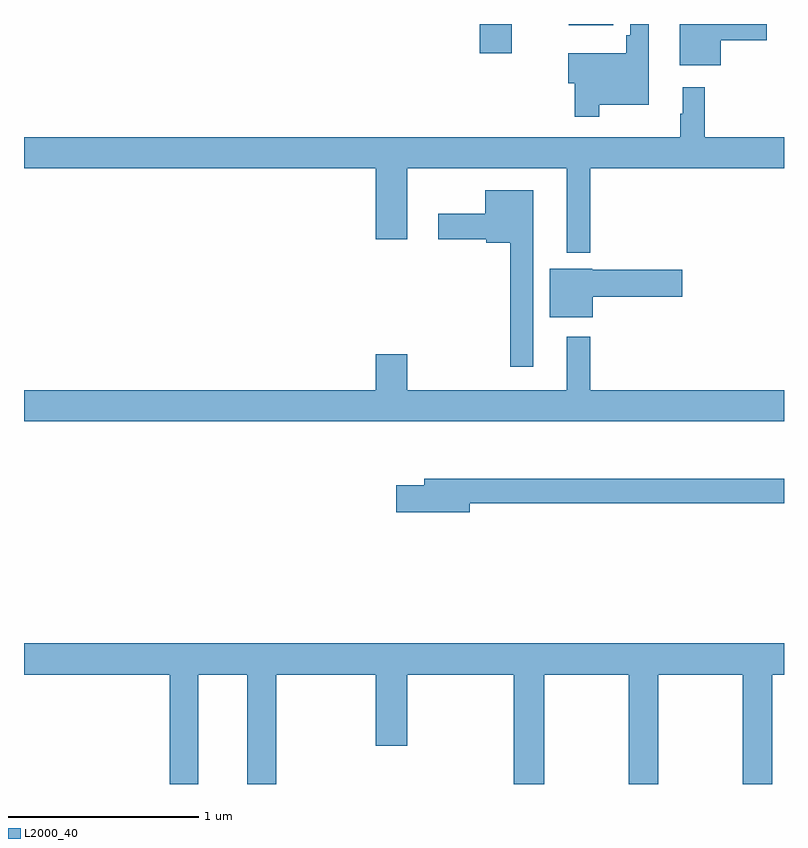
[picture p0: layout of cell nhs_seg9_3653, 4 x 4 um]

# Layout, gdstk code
import gdstk
lib = gdstk.Library(unit=1e-6, precision=1e-09)
def R(c, l, rs):  # rectangles x0, y0, x1, y1
    for r in rs: c.add(gdstk.rectangle(r[:2], r[2:], *l))
def P(c, l, *ps):  # polygons
    for p in ps: c.add(gdstk.Polygon(p, *l))
L2000_40 = (2000, 40)

nhs_seg9_3653 = lib.new_cell('nhs_seg9_3653')
R(nhs_seg9_3653, L2000_40, [(321.398,1210.347,321.568,1210.5), (321.866,1210.493,322.102,1210.5)])
P(nhs_seg9_3653, L2000_40, [(322.027,1210.076),(322.288,1210.076),(322.288,1210.5),(322.191,1210.5),(322.191,1210.441),(322.171,1210.441),(322.171,1210.345),(321.864,1210.345),(321.864,1210.187),(321.898,1210.187),(321.898,1210.011),(322.027,1210.011)],
  [(322.666,1210.415),(322.909,1210.415),(322.909,1210.5),(322.451,1210.5),(322.451,1210.283),(322.666,1210.283)],
  [(321.979,1209.74),(323,1209.74),(323,1209.904),(322.583,1209.904),(322.583,1210.168),(322.466,1210.168),(322.466,1210.028),(322.455,1210.028),(322.455,1209.904),(319,1209.904),(319,1209.74),(320.852,1209.74),(320.852,1209.366),(321.016,1209.366),(321.016,1209.74),(321.857,1209.74),(321.857,1209.296),(321.979,1209.296)],
  [(321.679,1209.625),(321.428,1209.625),(321.428,1209.502),(321.18,1209.502),(321.18,1209.368),(321.432,1209.368),(321.432,1209.35),(321.558,1209.35),(321.558,1208.697),(321.679,1208.697)],
  [(321.994,1209.064),(322.465,1209.064),(322.465,1209.206),(321.99,1209.206),(321.99,1209.211),(321.767,1209.211),(321.767,1208.957),(321.994,1208.957)],
  [(323,1208.572),(321.979,1208.572),(321.979,1208.854),(321.857,1208.854),(321.857,1208.572),(321.016,1208.572),(321.016,1208.761),(320.852,1208.761),(320.852,1208.572),(319,1208.572),(319,1208.408),(323,1208.408)],
  [(321.346,1207.978),(323,1207.978),(323,1208.107),(321.107,1208.107),(321.107,1208.073),(320.958,1208.073),(320.958,1207.931),(321.346,1207.931)],
  [(319.918,1207.076),(320.174,1207.076),(320.174,1206.5),(320.327,1206.5),(320.327,1207.076),(320.852,1207.076),(320.852,1206.702),(321.016,1206.702),(321.016,1207.076),(321.578,1207.076),(321.578,1206.5),(321.738,1206.5),(321.738,1207.076),(322.183,1207.076),(322.183,1206.5),(322.338,1206.5),(322.338,1207.076),(322.783,1207.076),(322.783,1206.5),(322.938,1206.5),(322.938,1207.076),(323,1207.076),(323,1207.24),(319,1207.24),(319,1207.076),(319.766,1207.076),(319.766,1206.5),(319.918,1206.5)])

lib.write_gds('nhs_seg9_3653.gds')
